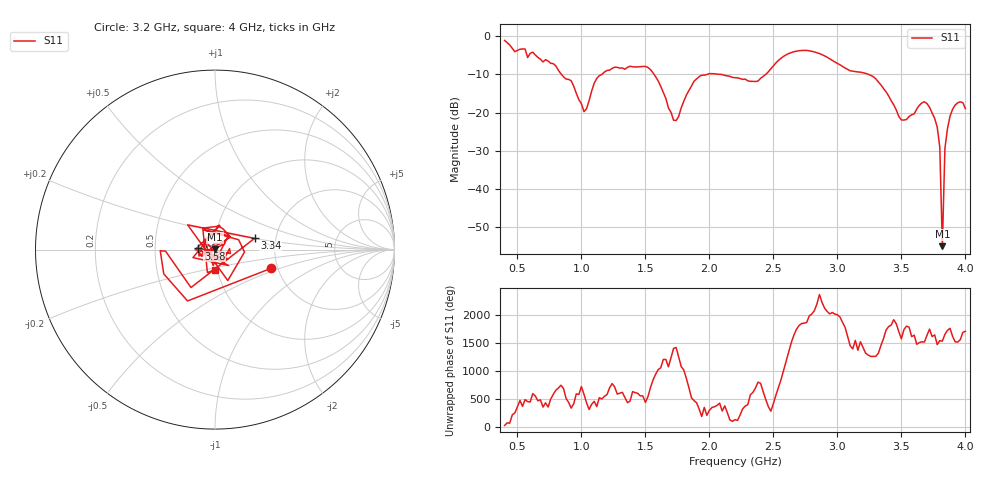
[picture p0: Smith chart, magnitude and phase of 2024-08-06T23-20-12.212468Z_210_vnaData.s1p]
!Created with skrf (http://scikit-rf.org).
# Hz S RI R 50.0
!freq ReS11 ImS11
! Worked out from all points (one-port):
!   181 points, 400 MHz to 4 GHz, reference 50 ohm
!   lowest |S11| = -54.9 dB at 3.82 GHz (marker M1), VSWR 1.00, Z = 50 + j0.18 ohm
!   |S11| at or under -10 dB: 1.566 GHz to 1.988 GHz (421.1 MHz wide, 23.7 % of centre); 2.066 GHz to 2.442 GHz (375.9 MHz wide, 16.7 % of centre); 3.239 GHz to end of sweep (the widest 3 of 4)
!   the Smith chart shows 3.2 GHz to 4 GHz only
!   S11 on the Smith chart (normalised r, x): 3.2 GHz: 1.85, -0.43; 3.34 GHz: 1.55, +0.20; 3.58 GHz: 0.83, +0.01; 4 GHz: 0.98, -0.22
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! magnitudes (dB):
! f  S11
! 400 MHz  -1.2
! 860 MHz  -10.7
! 920 MHz  -11.7
! 1.02 GHz  -19.8
! 1.12 GHz  -11.1
! 1.3 GHz  -8.4
! 1.52 GHz  -8.2
! 1.6 GHz  -11.8
! 1.72 GHz  -22.0
! 1.76 GHz  -21.0
! 1.92 GHz  -10.6
! 2.2 GHz  -10.9
! 2.38 GHz  -11.8
! 2.66 GHz  -4.1
! 3.1 GHz  -9.1
! 3.2 GHz  -9.6
! 3.34 GHz  -12.8
! 3.5 GHz  -21.9
! 3.56 GHz  -21.0
! 3.58 GHz  -20.6
! 3.68 GHz  -17.2
! 3.78 GHz  -23.8
! 3.8 GHz  -29.0
! 3.82 GHz  -54.9
! 3.84 GHz  -29.4
! 3.86 GHz  -24.2
! 3.92 GHz  -18.1
! 4 GHz  -19.0
